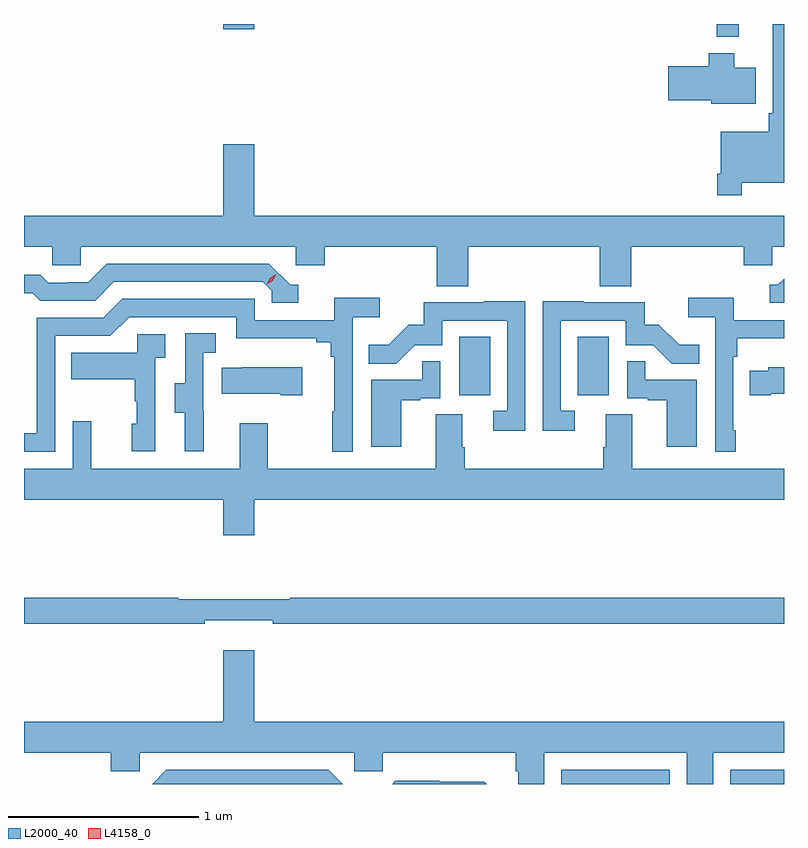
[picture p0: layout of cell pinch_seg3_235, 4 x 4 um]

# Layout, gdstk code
import gdstk
lib = gdstk.Library(unit=1e-6, precision=1e-09)
def R(c, l, rs):  # rectangles x0, y0, x1, y1
    for r in rs: c.add(gdstk.rectangle(r[:2], r[2:], *l))
def P(c, l, *ps):  # polygons
    for p in ps: c.add(gdstk.Polygon(p, *l))
L2000_40 = (2000, 40)
L4158_0 = (4158, 0)

pinch_seg3_235 = lib.new_cell('pinch_seg3_235')
R(pinch_seg3_235, L2000_40, [(910.044,738.048,910.614,738.123), (910.932,738.048,911.216,738.123), (909.506,740.094,909.67,740.401), (910.13,740.094,910.294,740.401), (910.861,741.98,910.979,742.048), (908.264,742.02,908.428,742.048)])
P(pinch_seg3_235, L2000_40, [(910.993,741.212),(911.216,741.212),(911.216,742.048),(911.157,742.048),(911.157,741.577),(911.137,741.577),(911.137,741.481),(910.884,741.481),(910.884,741.259),(910.864,741.259),(910.864,741.147),(910.993,741.147)],
  [(911.068,741.817),(910.954,741.817),(910.954,741.895),(910.82,741.895),(910.82,741.825),(910.608,741.825),(910.608,741.647),(910.832,741.647),(910.832,741.629),(911.068,741.629)],
  [(908.428,741.415),(908.264,741.415),(908.264,741.04),(907.216,741.04),(907.216,740.876),(907.365,740.876),(907.365,740.778),(907.515,740.778),(907.515,740.876),(908.646,740.876),(908.646,740.778),(908.798,740.778),(908.798,740.876),(909.389,740.876),(909.389,740.668),(909.554,740.668),(909.554,740.876),(910.247,740.876),(910.247,740.668),(910.412,740.668),(910.412,740.876),(911.003,740.876),(911.003,740.778),(911.154,740.778),(911.154,740.876),(911.216,740.876),(911.216,741.04),(908.428,741.04)],
  [(908.659,740.676),(908.616,740.676),(908.505,740.787),(907.652,740.787),(907.553,740.688),(907.446,740.688),(907.446,740.685),(907.343,740.685),(907.301,740.728),(907.216,740.728),(907.216,740.631),(907.262,740.631),(907.301,740.592),(907.59,740.592),(907.689,740.691),(908.472,740.691),(908.52,740.643),(908.52,740.58),(908.659,740.58)],
  [(911.216,740.708),(911.184,740.676),(911.141,740.676),(911.141,740.58),(911.216,740.58)],
  [(910.963,739.909),(910.95,739.909),(910.95,740.297),(910.97,740.297),(910.97,740.393),(911.216,740.393),(911.216,740.49),(910.952,740.49),(910.952,740.606),(910.713,740.606),(910.713,740.504),(910.854,740.504),(910.854,739.797),(910.963,739.797)],
  [(907.38,740.406),(907.671,740.406),(907.77,740.505),(908.334,740.505),(908.334,740.393),(908.753,740.393),(908.753,740.374),(908.83,740.374),(908.83,740.297),(908.849,740.297),(908.849,740.009),(908.838,740.009),(908.838,739.797),(908.946,739.797),(908.946,740.504),(909.088,740.504),(909.088,740.606),(908.849,740.606),(908.849,740.49),(908.43,740.49),(908.43,740.601),(907.733,740.601),(907.634,740.502),(907.284,740.502),(907.284,739.893),(907.216,739.893),(907.216,739.797),(907.38,739.797)],
  [(910.114,740.013),(910.041,740.013),(910.041,740.487),(910.383,740.487),(910.383,740.358),(910.527,740.358),(910.625,740.26),(910.769,740.26),(910.769,740.359),(910.665,740.359),(910.558,740.466),(910.482,740.466),(910.482,740.583),(910.163,740.583),(910.163,740.588),(909.945,740.588),(909.945,739.908),(910.114,739.908)],
  [(909.855,740.588),(909.637,740.588),(909.637,740.583),(909.319,740.583),(909.319,740.466),(909.242,740.466),(909.135,740.359),(909.031,740.359),(909.031,740.26),(909.175,740.26),(909.273,740.358),(909.417,740.358),(909.417,740.487),(909.759,740.487),(909.759,740.013),(909.687,740.013),(909.687,739.908),(909.855,739.908)],
  [(908.162,740.013),(908.16,740.013),(908.16,740.317),(908.224,740.317),(908.224,740.42),(908.064,740.42),(908.064,740.157),(908.009,740.157),(908.009,740.002),(908.063,740.002),(908.063,739.8),(908.162,739.8)],
  [(907.908,740.291),(907.96,740.291),(907.96,740.415),(907.812,740.415),(907.812,740.317),(907.465,740.317),(907.465,740.177),(907.8,740.177),(907.8,740.063),(907.81,740.063),(907.81,739.944),(907.784,739.944),(907.784,739.8),(907.908,739.8)],
  [(909.202,740.067),(909.302,740.067),(909.302,740.079),(909.408,740.079),(909.408,740.273),(909.313,740.273),(909.313,740.175),(909.044,740.175),(909.044,739.824),(909.202,739.824)],
  [(910.756,740.175),(910.487,740.175),(910.487,740.273),(910.392,740.273),(910.392,740.079),(910.499,740.079),(910.499,740.067),(910.598,740.067),(910.598,739.824),(910.756,739.824)],
  [(908.68,740.242),(908.365,740.242),(908.365,740.239),(908.257,740.239),(908.257,740.102),(908.567,740.102),(908.567,740.095),(908.68,740.095)],
  [(911.146,740.102),(911.216,740.102),(911.216,740.242),(911.133,740.242),(911.133,740.224),(911.035,740.224),(911.035,740.095),(911.146,740.095)],
  [(908.428,739.544),(911.216,739.544),(911.216,739.708),(910.417,739.708),(910.417,739.994),(910.277,739.994),(910.277,739.82),(910.265,739.82),(910.265,739.708),(909.536,739.708),(909.536,739.82),(909.523,739.82),(909.523,739.994),(909.383,739.994),(909.383,739.708),(908.499,739.708),(908.499,739.948),(908.351,739.948),(908.351,739.708),(907.571,739.708),(907.571,739.957),(907.473,739.957),(907.473,739.708),(907.216,739.708),(907.216,739.544),(908.264,739.544),(908.264,739.356),(908.428,739.356)],
  [(908.168,738.911),(908.524,738.911),(908.524,738.892),(911.216,738.892),(911.216,739.028),(908.618,739.028),(908.618,739.021),(908.027,739.021),(908.027,739.028),(907.216,739.028),(907.216,738.892),(908.168,738.892)],
  [(909.954,738.212),(910.704,738.212),(910.704,738.048),(910.843,738.048),(910.843,738.212),(911.216,738.212),(911.216,738.376),(908.428,738.376),(908.428,738.751),(908.264,738.751),(908.264,738.376),(907.216,738.376),(907.216,738.212),(907.673,738.212),(907.673,738.114),(907.824,738.114),(907.824,738.212),(908.955,738.212),(908.955,738.114),(909.105,738.114),(909.105,738.212),(909.803,738.212),(909.803,738.114),(909.817,738.114),(909.817,738.048),(909.954,738.048)],
  [(908.818,738.123),(907.965,738.123),(907.89,738.048),(908.893,738.048)],
  [(909.638,738.061),(909.402,738.061),(909.402,738.064),(909.169,738.064),(909.153,738.048),(909.651,738.048)])
P(pinch_seg3_235, L4158_0, [(908.494,740.678),(908.494,740.679),(908.511,740.711),(908.541,740.73),(908.542,740.73),(908.542,740.73),(908.525,740.698),(908.494,740.678)])

lib.write_gds('pinch_seg3_235.gds')
